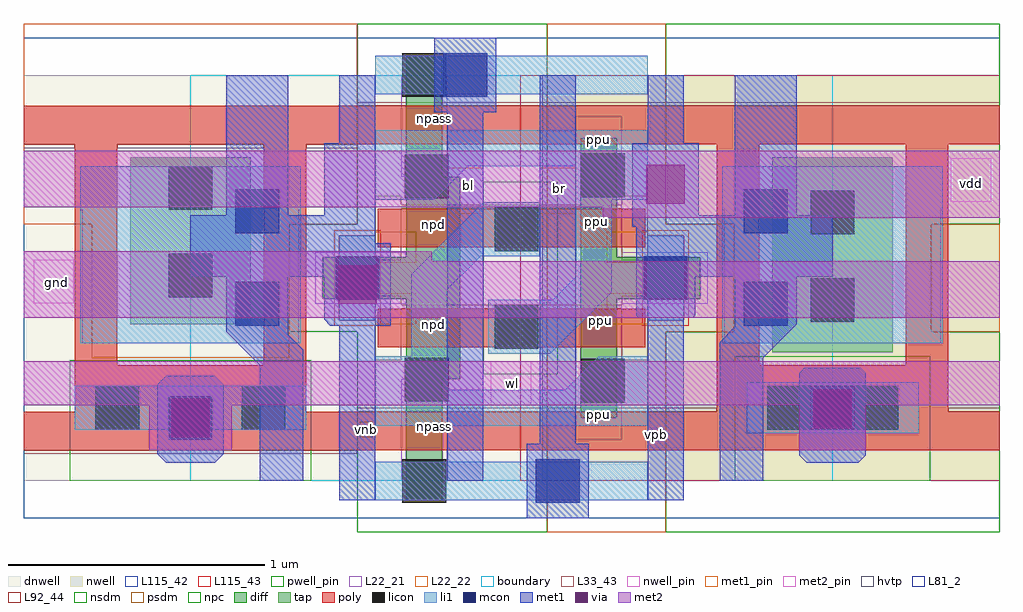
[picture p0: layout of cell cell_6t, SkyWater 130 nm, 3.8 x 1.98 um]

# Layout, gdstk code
import gdstk
lib = gdstk.Library(unit=1e-6, precision=1e-09)
def R(c, l, rs):  # rectangles x0, y0, x1, y1
    for r in rs: c.add(gdstk.rectangle(r[:2], r[2:], *l))
def P(c, l, *ps):  # polygons
    for p in ps: c.add(gdstk.Polygon(p, *l))
L22_21 = (22, 21)
L22_22 = (22, 22)
L33_43 = (33, 43)
nwell_pin = (64, 16)
dnwell = (64, 18)
nwell = (64, 20)
diff = (65, 20)
tap = (65, 44)
poly = (66, 20)
licon = (66, 44)
li1 = (67, 20)
mcon = (67, 44)
met1_pin = (68, 16)
met1 = (68, 20)
via = (68, 44)
met2_pin = (69, 16)
met2 = (69, 20)
hvtp = (78, 44)
L81_2 = (81, 2)
L92_44 = (92, 44)
nsdm = (93, 44)
psdm = (94, 20)
npc = (95, 20)
L115_42 = (115, 42)
L115_43 = (115, 43)
pwell_pin = (122, 16)
boundary = (235, 4)

cell_6t = lib.new_cell('cell_6t')
R(cell_6t, L22_21, [(0.82,0,0.84,0.395), (0.98,0,1,0.395), (0.65,0.69,0.84,0.71), (0.65,0.87,0.84,0.89), (0.82,1.185,0.84,1.58), (0.98,1.185,1,1.58)])
P(cell_6t, L22_21, [(1.85,0.69),(1.85,0.71),(1.985,0.71),(1.985,0.87),(1.85,0.87),(1.85,0.89),(2.015,0.89),(2.015,0.69)],
  [(0.485,0.69),(0.485,0.89),(0.65,0.89),(0.65,0.87),(0.515,0.87),(0.515,0.71),(0.65,0.71),(0.65,0.69)],
  [(1.5,0.16),(1.5,1.42),(1.68,1.42),(1.68,0.89),(1.85,0.89),(1.85,0.87),(1.66,0.87),(1.66,1.335),(1.52,1.335),(1.52,0.245),(1.66,0.245),(1.66,0.71),(1.85,0.71),(1.85,0.69),(1.68,0.69),(1.68,0.16)])
R(cell_6t, L22_22, [(0.72,0.61,0.88,0.73), (1.62,0.61,1.78,0.73), (0.72,0.85,0.88,0.97), (1.62,0.85,1.78,0.97)])
R(cell_6t, L33_43, [(-0.65,0.105,0.65,0.12), (0.65,0.27,0.73,0.285), (0.73,0.27,1.85,0.285), (1.85,0.27,2.05,0.285), (2.95,0.27,3.15,0.285), (0.72,0.47,0.82,0.72), (1.68,0.47,1.78,0.72), (0.72,0.67,1.78,0.685), (0.72,0.86,0.82,1.11), (1.68,0.86,1.78,1.11), (0.72,1.06,1.78,1.075), (-0.65,1.295,-0.45,1.31), (-0.285,1.295,0.285,1.31), (0.45,1.295,0.65,1.31), (0.65,1.46,0.73,1.475), (0.73,1.46,1.85,1.475), (1.85,1.46,3.15,1.475)])
R(cell_6t, nwell_pin, [(1.79,0.155,1.84,0.205)])
R(cell_6t, dnwell, [(-0.65,0,0.65,1.58), (0.65,0,1.85,1.58), (1.85,0,3.15,1.58)])
R(cell_6t, nwell, [(1.37,0,1.85,1.58), (1.85,0,3.15,1.58)])
R(cell_6t, diff, [(0.84,-0.075,0.98,0), (0.515,0.71,0.65,0.87), (1.85,0.71,1.985,0.87), (0.84,1.58,0.98,1.655)])
P(cell_6t, diff, [(1.52,0.245),(1.52,1.335),(1.66,1.335),(1.66,0.87),(1.85,0.87),(1.85,0.71),(1.66,0.71),(1.66,0.245)],
  [(0.84,0),(0.84,0.71),(0.65,0.71),(0.65,0.87),(0.84,0.87),(0.84,1.58),(0.98,1.58),(0.98,1.185),(1.05,1.185),(1.05,0.395),(0.98,0.395),(0.98,0)])
R(cell_6t, tap, [(2.265,0.5,2.735,1.26), (-0.235,0.61,0.235,1.26)])
R(cell_6t, poly, [(-0.12,0.12,0.12,0.45), (0.65,0.12,0.73,0.27), (0.73,0.12,1.85,0.27), (0.73,0.52,1.77,0.67), (0.73,0.91,1.77,1.06), (-0.45,1.31,0.45,1.46), (0.65,1.31,0.73,1.46), (0.73,1.31,1.85,1.46)])
P(cell_6t, poly, [(1.85,0.12),(1.85,0.27),(2.05,0.27),(2.05,1.31),(1.85,1.31),(1.85,1.46),(3.15,1.46),(3.15,1.31),(2.95,1.31),(2.95,0.27),(3.15,0.27),(3.15,0.12),(2.785,0.12),(2.785,1.31),(2.215,1.31),(2.215,0.45),(2.785,0.45),(2.785,0.12)],
  [(-0.65,0.12),(-0.65,0.27),(-0.45,0.27),(-0.45,1.31),(-0.65,1.31),(-0.65,1.46),(-0.285,1.46),(-0.285,0.45),(-0.12,0.45),(-0.12,0.12)],
  [(0.12,0.12),(0.12,0.45),(0.285,0.45),(0.285,1.46),(0.65,1.46),(0.65,1.31),(0.45,1.31),(0.45,0.27),(0.65,0.27),(0.65,0.12)])
R(cell_6t, licon, [(0.825,-0.085,0.995,0), (0.825,0,0.995,0.085), (-0.37,0.2,-0.2,0.37), (0.2,0.2,0.37,0.37), (2.245,0.2,2.415,0.37), (2.585,0.2,2.755,0.37), (1.52,0.305,1.69,0.475), (0.835,0.31,1.005,0.48), (1.185,0.515,1.355,0.685), (2.415,0.62,2.585,0.79), (0.565,0.705,0.65,0.875), (0.65,0.705,0.735,0.875), (1.765,0.705,1.85,0.875), (1.85,0.705,1.935,0.875), (-0.085,0.715,0.085,0.885), (1.185,0.895,1.355,1.065), (2.415,0.96,2.585,1.13), (-0.085,1.055,0.085,1.225), (0.835,1.1,1.005,1.27), (1.52,1.105,1.69,1.275), (0.825,1.495,0.995,1.58), (0.825,1.58,0.995,1.665)])
R(cell_6t, li1, [(0.72,-0.075,1.78,0), (0.72,0,1.78,0.075), (-0.085,0.16,0.085,0.33), (2.165,0.185,2.835,0.385), (-0.43,0.535,0.43,1.225), (2.07,0.535,2.93,1.225), (0.58,0.625,0.65,0.955), (0.65,0.625,0.72,0.955), (1.78,0.625,1.85,0.955), (1.85,0.625,1.92,0.955), (0.72,1.505,1.78,1.58), (0.72,1.58,1.78,1.655)])
P(cell_6t, li1, [(0.72,0.215),(0.72,0.485),(0.86,0.485),(0.86,0.805),(1.14,1.085),(1.36,1.085),(1.36,0.875),(1.13,0.875),(1,0.745),(1,0.355),(1.46,0.355),(1.59,0.485),(1.78,0.485),(1.78,0.215)],
  [(1.16,0.495),(1.16,0.705),(1.41,0.705),(1.5,0.795),(1.5,1.225),(1.08,1.225),(0.95,1.095),(0.72,1.095),(0.72,1.365),(1.78,1.365),(1.78,1.095),(1.64,1.095),(1.64,0.735),(1.4,0.495)])
R(cell_6t, mcon, [(1.345,-0.085,1.515,0), (1.345,0,1.515,0.085), (-0.085,0.16,0.085,0.33), (2.415,0.2,2.585,0.37), (0.175,0.605,0.345,0.775), (2.155,0.605,2.325,0.775), (0.565,0.705,0.65,0.875), (0.65,0.705,0.735,0.875), (1.765,0.705,1.85,0.875), (1.765,0.705,1.85,0.875), (1.85,0.705,1.935,0.875), (0.175,0.965,0.345,1.135), (2.155,0.965,2.325,1.135), (0.985,1.495,1.155,1.58), (0.985,1.58,1.155,1.665)])
R(cell_6t, met1_pin, [(1,1.04,1.14,1.22), (1.36,1.04,1.5,1.22)])
R(cell_6t, met1, [(0.58,-0.075,0.72,1.58), (-0.115,0.1,0.115,0.39), (0,0.795,0.72,1.035), (1.735,0.795,2.5,1.035)])
P(cell_6t, met1, [(1.85,0),(1.85,1.58),(1.92,1.58),(1.92,1.315),(1.98,1.315),(1.98,0.99),(1.965,0.99),(1.965,0.645),(1.955,0.635),(1.92,0.635),(1.92,0)],
  [(0.58,0),(0.58,0.605),(0.545,0.605),(0.52,0.63),(0.52,1.315),(0.58,1.315),(0.58,1.58),(0.65,1.58),(0.65,0)],
  [(1.78,0),(1.78,0.635),(1.745,0.635),(1.735,0.645),(1.735,0.99),(1.72,0.99),(1.72,1.315),(1.78,1.315),(1.78,1.58),(1.85,1.58),(1.85,0)],
  [(0.65,0),(0.65,1.58),(0.72,1.58),(0.72,0.925),(0.78,0.925),(0.78,0.605),(0.72,0.605),(0.72,0)],
  [(1,0),(1,1.435),(0.95,1.435),(0.95,1.725),(1.19,1.725),(1.19,1.435),(1.14,1.435),(1.14,0)],
  [(1.31,-0.145),(1.31,0.145),(1.36,0.145),(1.36,1.58),(1.5,1.58),(1.5,0.145),(1.55,0.145),(1.55,-0.145)],
  [(1.78,-0.075),(1.78,0.635),(1.745,0.635),(1.735,0.645),(1.735,0.99),(1.72,0.99),(1.72,1.315),(1.78,1.315),(1.78,1.58),(1.92,1.58),(1.92,-0.075)],
  [(2.06,0),(2.06,0.54),(2.12,0.6),(2.12,1.58),(2.36,1.58),(2.36,0.61),(2.23,0.48),(2.23,0)],
  [(2.4,0.07),(2.37,0.1),(2.37,0.42),(2.39,0.44),(2.61,0.44),(2.63,0.42),(2.63,0.1),(2.6,0.07)],
  [(-0.095,0.07),(-0.13,0.105),(-0.13,0.375),(-0.095,0.41),(0.095,0.41),(0.13,0.375),(0.13,0.105),(0.095,0.07)],
  [(0.27,0),(0.27,0.45),(0.14,0.58),(0.14,1.58),(0.38,1.58),(0.38,0.57),(0.44,0.51),(0.44,0)])
R(cell_6t, via, [(-0.075,0.17,0.075,0.32), (2.425,0.205,2.575,0.355), (0.575,0.69,0.725,0.84), (0.575,0.69,0.65,0.84), (0.65,0.69,0.725,0.84), (1.775,1.08,1.925,1.23), (1.775,1.08,1.85,1.23), (1.85,1.08,1.925,1.23)])
R(cell_6t, met2_pin, [(1.17,0.295,1.326,0.465), (-0.611,0.692,-0.455,0.862), (2.961,1.087,3.117,1.257)])
R(cell_6t, met2, [(-0.16,0.12,0.16,0.44), (2.37,0.12,2.63,0.44), (-0.65,0.295,0.65,0.465), (0.65,0.295,1.85,0.465), (1.85,0.295,3.15,0.465), (-0.65,0.635,0.65,0.895), (1.85,0.635,3.15,0.855), (1.85,1.025,3.15,1.285), (-0.65,1.065,0.65,1.285), (0.65,1.065,0.94,1.285)])
P(cell_6t, met2, [(0.65,0.635),(0.65,0.895),(0.94,0.895),(0.94,0.855),(1.85,0.855),(1.85,0.635)],
  [(1.605,1.025),(1.605,1.065),(0.94,1.065),(0.94,1.285),(1.85,1.285),(1.85,1.025)])
R(cell_6t, hvtp, [(1.37,0,1.85,1.58), (1.85,0,3.15,1.58)])
R(cell_6t, L81_2, [(-0.65,-0.145,3.15,1.725), (0,0,2.5,1.58)])
R(cell_6t, L92_44, [(1.285,0,1.85,1.58), (1.85,0,3.15,1.58)])
R(cell_6t, nsdm, [(0.65,-0.2,1.39,1.78), (0.385,0.58,0.65,1)])
P(cell_6t, nsdm, [(1.85,-0.2),(1.85,0.58),(2.115,0.58),(2.115,1),(1.85,1),(1.85,1.78),(3.15,1.78),(3.15,1),(2.885,1),(2.885,0.58),(3.15,0.58),(3.15,-0.2)])
R(cell_6t, psdm, [(1.39,-0.2,1.85,1.78), (1.85,0.58,2.115,1), (2.885,0.58,3.15,1)])
P(cell_6t, psdm, [(-0.385,0.48),(-0.385,1),(-0.65,1),(-0.65,1.78),(0.65,1.78),(0.65,1),(0.385,1),(0.385,0.48)])
R(cell_6t, npc, [(-0.47,0,0.47,0.47), (2.12,0,2.88,0.485), (1.14,0.415,1.43,1.165)])
R(cell_6t, L115_42, [(-0.43,0.535,-0.42,1.055), (0.42,0.535,0.43,1.055), (2.07,0.535,2.08,1.055), (2.92,0.535,2.93,1.055)])
P(cell_6t, L115_43, [(1.85,0.605),(1.85,0.625),(1.92,0.625),(1.92,0.955),(1.85,0.955),(1.85,0.975),(1.94,0.975),(1.94,0.605)],
  [(0.56,0.605),(0.56,0.975),(0.65,0.975),(0.65,0.955),(0.58,0.955),(0.58,0.625),(0.65,0.625),(0.65,0.605)],
  [(1.76,0.605),(1.76,0.975),(1.85,0.975),(1.85,0.955),(1.78,0.955),(1.78,0.625),(1.85,0.625),(1.85,0.605)],
  [(0.65,0.605),(0.65,0.625),(0.72,0.625),(0.72,0.955),(0.65,0.955),(0.65,0.975),(0.74,0.975),(0.74,0.605)])
R(cell_6t, pwell_pin, [(0.66,0.17,0.71,0.23)])
R(cell_6t, boundary, [(0,0,2.5,1.58)])
cell_6t.add(gdstk.FlexPath([(-0.45,0.285),(0.45,0.285)], 0.17, ends="flush", simple_path=True, layer=67, datatype=20))  # li1
cell_6t.add(gdstk.Label('br', (1.438,1.139), layer=68, texttype=20))
cell_6t.add(gdstk.Label('bl', (1.081,1.15), layer=68, texttype=20))
cell_6t.add(gdstk.Label('npass', (0.95,0.21), layer=66, texttype=83))
cell_6t.add(gdstk.Label('npd', (0.945,0.61), layer=66, texttype=83))
cell_6t.add(gdstk.Label('npd', (0.945,1), layer=66, texttype=83))
cell_6t.add(gdstk.Label('npass', (0.95,1.41), layer=66, texttype=83))
cell_6t.add(gdstk.Label('ppu', (1.58,1.01), layer=66, texttype=83))
cell_6t.add(gdstk.Label('ppu', (1.595,0.625), layer=66, texttype=83))
cell_6t.add(gdstk.Label('ppu', (1.59,1.33), layer=66, texttype=83))
cell_6t.add(gdstk.Label('ppu', (1.59,0.26), layer=66, texttype=83))
cell_6t.add(gdstk.Label('vdd', (3.041,1.157), layer=69, texttype=20))
cell_6t.add(gdstk.Label('gnd', (-0.523,0.772), layer=69, texttype=20))
cell_6t.add(gdstk.Label('wl', (1.254,0.379), layer=69, texttype=20))
cell_6t.add(gdstk.Label('vpb', (1.815,0.18), layer=64, texttype=5))
cell_6t.add(gdstk.Label('vnb', (0.685,0.2), layer=64, texttype=59))

lib.write_gds('cell_6t.gds')
